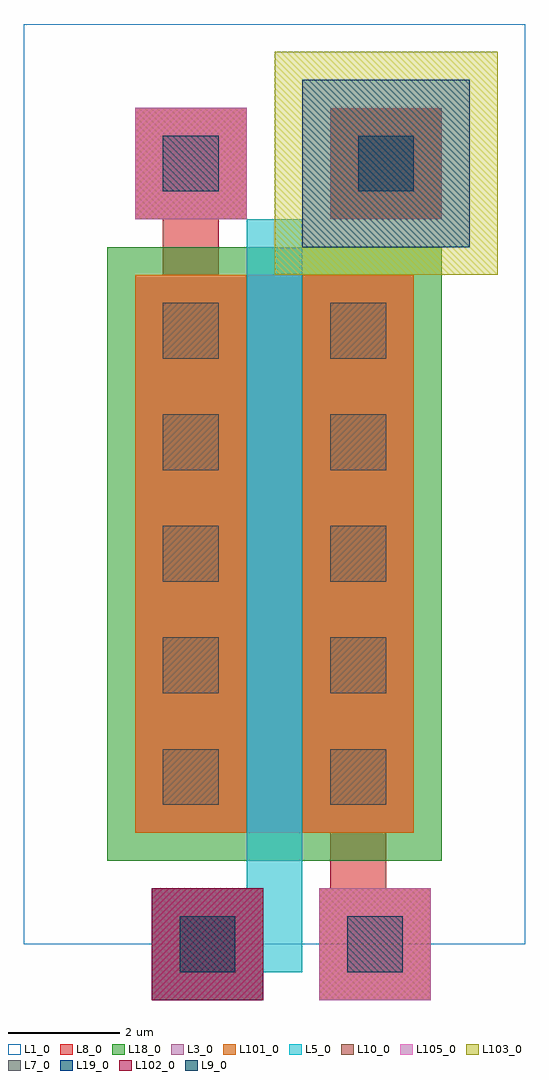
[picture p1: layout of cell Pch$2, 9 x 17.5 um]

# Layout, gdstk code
import gdstk
lib = gdstk.Library(unit=1e-6, precision=1e-09)
def R(c, l, rs):  # rectangles x0, y0, x1, y1
    for r in rs: c.add(gdstk.rectangle(r[:2], r[2:], *l))
L1_0 = (1, 0)
L3_0 = (3, 0)
L5_0 = (5, 0)
L7_0 = (7, 0)
L8_0 = (8, 0)
L9_0 = (9, 0)
L10_0 = (10, 0)
L18_0 = (18, 0)
L19_0 = (19, 0)
L101_0 = (101, 0)
L102_0 = (102, 0)
L103_0 = (103, 0)
L105_0 = (105, 0)

dcont = lib.new_cell('dcont')
R(dcont, L3_0, [(-0.5,-0.5,0.5,0.5)])
R(dcont, L7_0, [(-0.5,-0.5,0.5,0.5)])
R(dcont, L8_0, [(-1,-1,1,1)])
R(dcont, L101_0, [(-1,-1,1,1)])
dcont.add(gdstk.Label('dcont', (0,0), layer=13, texttype=0))

pcont = lib.new_cell('pcont')
R(pcont, L5_0, [(-1,-1,1,1)])
R(pcont, L7_0, [(-0.5,-0.5,0.5,0.5)])
R(pcont, L8_0, [(-1,-1,1,1)])
R(pcont, L102_0, [(-1,-1,1,1)])
pcont.add(gdstk.Label('pcont', (0,0), layer=13, texttype=0))

via = lib.new_cell('Via')
R(via, L8_0, [(-1,-1,1,1)])
R(via, L9_0, [(-0.5,-0.5,0.5,0.5)])
R(via, L10_0, [(-1,-1,1,1)])
R(via, L105_0, [(-1,-1,1,1)])
via.add(gdstk.Label('via', (0,0), layer=13, texttype=0))

dcont_2 = lib.new_cell('dcont$2')
R(dcont_2, L3_0, [(-0.5,-0.5,0.5,0.5)])
R(dcont_2, L7_0, [(-0.5,-0.5,0.5,0.5)])
R(dcont_2, L8_0, [(-1,-1,1,1)])
R(dcont_2, L101_0, [(-1,-1,1,1)])
dcont_2.add(gdstk.Label('dcont', (0,0), layer=13, texttype=0))

nsubcont = lib.new_cell('nsubcont')
R(nsubcont, L1_0, [(-2,-2,2,2)])
R(nsubcont, L19_0, [(-1.5,-1.5,1.5,1.5)])
R(nsubcont, L103_0, [(-2,-2,2,2)])
nsubcont.add(gdstk.Reference(dcont_2, (0,0)))
nsubcont.add(gdstk.Label('NScont', (0,0), layer=13, texttype=0))

pch_2 = lib.new_cell('Pch$2')
R(pch_2, L1_0, [(-2,1,7,17.5)])
R(pch_2, L3_0, [(0,3,5,13)])
R(pch_2, L18_0, [(-0.5,2.5,5.5,13.5)])
pch_2.add(gdstk.FlexPath([(1,3),(1,13)], 2, ends="flush", simple_path=True, layer=8, datatype=0))  # L8_0
pch_2.add(gdstk.FlexPath([(4,3),(4,13)], 2, ends="flush", simple_path=True, layer=8, datatype=0))  # L8_0
pch_2.add(gdstk.FlexPath([(4,1),(4,3)], 1, ends="flush", simple_path=True, layer=8, datatype=0))  # L8_0
pch_2.add(gdstk.FlexPath([(1,13),(1,15)], 1, ends="flush", simple_path=True, layer=8, datatype=0))  # L8_0
pch_2.add(gdstk.FlexPath([(2.5,3),(2.5,13)], 1, ends=(1, 1), simple_path=True, layer=5, datatype=0))  # L5_0
pch_2.add(gdstk.FlexPath([(1,1),(2.5,1),(2.5,2)], 1, ends="flush", simple_path=True, layer=5, datatype=0))  # L5_0
pch_2.add(gdstk.Reference(dcont, (1,4)))
pch_2.add(gdstk.Reference(dcont, (1,6)))
pch_2.add(gdstk.Reference(dcont, (1,8)))
pch_2.add(gdstk.Reference(dcont, (1,10)))
pch_2.add(gdstk.Reference(dcont, (1,12)))
pch_2.add(gdstk.Reference(dcont, (4,4)))
pch_2.add(gdstk.Reference(dcont, (4,6)))
pch_2.add(gdstk.Reference(dcont, (4,8)))
pch_2.add(gdstk.Reference(dcont, (4,10)))
pch_2.add(gdstk.Reference(dcont, (4,12)))
pch_2.add(gdstk.Reference(pcont, (1.3,1)))
pch_2.add(gdstk.Reference(via, (1.3,1)))
pch_2.add(gdstk.Reference(via, (4.3,1)))
pch_2.add(gdstk.Reference(via, (1,15)))
pch_2.add(gdstk.Reference(nsubcont, (4.5,15)))
pch_2.add(gdstk.Reference(via, (4.5,15)))

lib.write_gds('Pch_2.gds')
